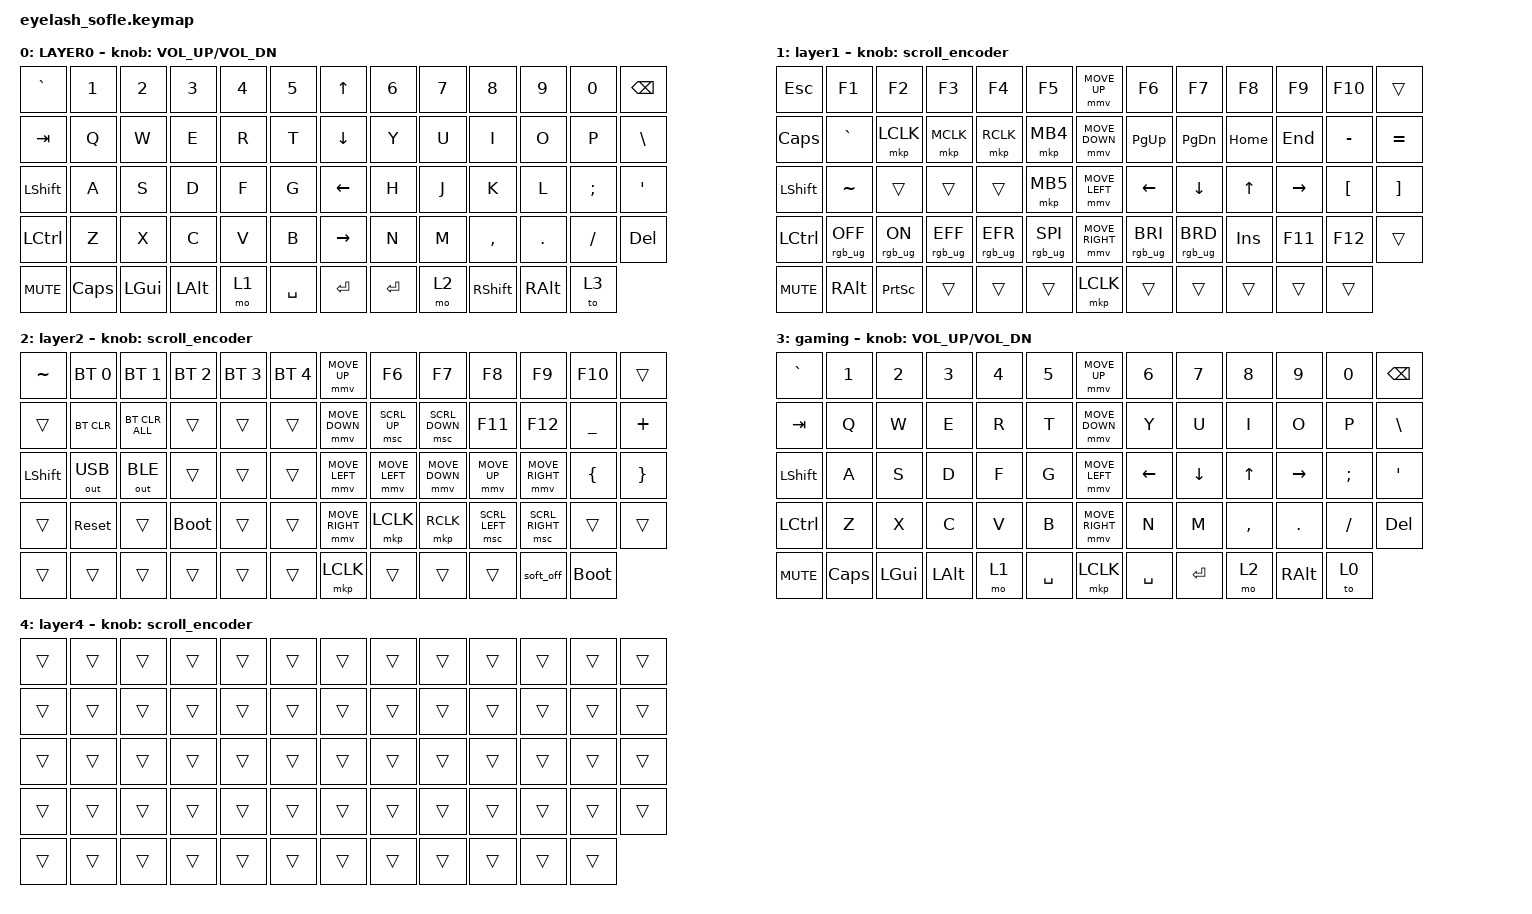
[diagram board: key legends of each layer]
#define ZMK_POINTING_DEFAULT_MOVE_VAL 1200  // 600
#define ZMK_POINTING_DEFAULT_SCRL_VAL 25   // 10

#include <input/processors.dtsi>
#include <zephyr/dt-bindings/input/input-event-codes.h>
#include <behaviors.dtsi>
#include <dt-bindings/zmk/bt.h>
#include <dt-bindings/zmk/keys.h>
#include <dt-bindings/zmk/outputs.h>
#include <dt-bindings/zmk/pointing.h>
#include <dt-bindings/zmk/rgb.h>

&mmv_input_listener { input-processors = <&zip_xy_scaler 2 1>; };

&msc_input_listener { input-processors = <&zip_scroll_scaler 2 1>; };

&msc {
    acceleration-exponent = <1>;      // 0
    time-to-max-speed-ms = <100>;       // 300
    delay-ms = <0>;                   // 0
};

&mmv {
    time-to-max-speed-ms = <500>;
    acceleration-exponent = <1>;
    trigger-period-ms = <16>;
};

&soft_off { hold-time-ms = <2000>; };

/ {
    scroll_encoder: scroll_encoder {
        compatible = "zmk,behavior-sensor-rotate";
        #sensor-binding-cells = <0>;
        bindings = <&msc SCRL_DOWN>, <&msc SCRL_UP>;

        tap-ms = <100>;
    };

    behaviors {
    };

    combos {
        compatible = "zmk,combos";

        softoff {
            bindings = <&soft_off>;
            key-positions = <14 28 40>;
        };

        toggle_capslock {
          bindings = <&kp CAPS>;
          key-positions = <30 34>; // press "f" and "k" together
          timeout-ms = <40>; // needs to be pressed within 40ms
        }; 
    };

    keymap {
        compatible = "zmk,keymap";

        layer0 {
            bindings = <
&kp GRAVE     &kp N1     &kp N2        &kp N3        &kp N4  &kp N5       &kp UP_ARROW     &kp N6     &kp N7     &kp N8     &kp N9           &kp N0      &kp BACKSPACE
&kp TAB     &kp Q      &kp W         &kp E         &kp R   &kp T        &kp DOWN_ARROW   &kp Y      &kp U      &kp I      &kp O            &kp P       &kp BSLH
&kp LSHFT   &kp A      &kp S         &kp D         &kp F   &kp G        &kp LEFT_ARROW   &kp H      &kp J      &kp K      &kp L            &kp SEMI    &kp APOS
&kp LCTRL   &kp Z      &kp X         &kp C         &kp V   &kp B        &kp RIGHT_ARROW  &kp N      &kp M      &kp COMMA  &kp DOT          &kp FSLH    &kp DELETE
&kp C_MUTE  &kp CAPS  &kp LEFT_GUI  &kp LEFT_ALT  &mo 1   &kp SPACE    &kp ENTER         &kp ENTER  &mo 2  &kp RSHFT    &kp RIGHT_ALT  &to 3
            >;

            sensor-bindings = <&inc_dec_kp C_VOLUME_UP C_VOL_DN>;
            display-name = "LAYER0";
        };

        layer_1 {
            bindings = <
&kp ESC   &kp F1           &kp F2          &kp F3           &kp F4           &kp F5             &mmv MOVE_UP     &kp F6           &kp F7           &kp F8      &kp F9     &kp F10           &trans
&kp CAPS      &kp GRAVE        &mkp LCLK       &mkp MCLK        &mkp RCLK        &mkp MB4           &mmv MOVE_DOWN   &kp PG_UP        &kp PG_DN          &kp HOME      &kp END   &kp MINUS         &kp EQUAL
&kp LSHIFT      &kp TILDE        &trans          &trans           &trans           &mkp MB5           &mmv MOVE_LEFT   &kp LEFT        &kp DOWN         &kp UP    &kp RIGHT  &kp LEFT_BRACKET  &kp RIGHT_BRACKET
&kp LCTRL      &rgb_ug RGB_OFF  &rgb_ug RGB_ON  &rgb_ug RGB_EFF  &rgb_ug RGB_EFR  &rgb_ug RGB_SPI    &mmv MOVE_RIGHT  &rgb_ug RGB_BRI  &rgb_ug RGB_BRD  &kp INSERT  &kp F11    &kp F12           &trans
&kp C_MUTE  &kp RIGHT_ALT           &kp PRINTSCREEN          &trans           &trans           &trans             &mkp LCLK        &trans           &trans           &trans      &trans     &trans
            >;

            display-name = "layer1";
            sensor-bindings = <&scroll_encoder>;
        };

        layer_2 {
            bindings = <
&kp TILDE  &bt BT_SEL 0  &bt BT_SEL 1    &bt BT_SEL 2  &bt BT_SEL 3  &bt BT_SEL 4    &mmv MOVE_UP     &kp F6  &kp F7  &kp F8      &kp F9     &kp F10      &trans
&trans     &bt BT_CLR    &bt BT_CLR_ALL  &trans        &trans        &trans          &mmv MOVE_DOWN   &msc SCRL_UP  &msc SCRL_DOWN  &kp F11     &kp F12    &kp UNDER    &kp PLUS
&kp LSHIFT     &out OUT_USB  &out OUT_BLE    &trans        &trans        &trans          &mmv MOVE_LEFT   &mmv MOVE_LEFT  &mmv MOVE_DOWN  &mmv MOVE_UP      &mmv MOVE_RIGHT     &kp LBRC     &kp RBRC
&trans     &sys_reset    &trans          &bootloader   &trans        &trans          &mmv MOVE_RIGHT     &mkp LCLK       &mkp RCLK        &msc SCRL_LEFT    &msc SCRL_RIGHT    &trans       &trans
&trans     &trans        &trans          &trans        &trans        &trans          &mkp LCLK        &trans  &trans  &trans    &soft_off   &bootloader
            >;

            display-name = "layer2";
            sensor-bindings = <&scroll_encoder>;
        };

        layer_3 {
            bindings = <
&kp GRAVE     &kp N1     &kp N2        &kp N3        &kp N4  &kp N5       &mmv MOVE_UP     &kp N6     &kp N7     &kp N8     &kp N9           &kp N0      &kp BACKSPACE
&kp TAB     &kp Q      &kp W         &kp E         &kp R   &kp T        &mmv MOVE_DOWN   &kp Y      &kp U      &kp I      &kp O            &kp P       &kp BSLH
&kp LSHFT   &kp A      &kp S         &kp D         &kp F   &kp G        &mmv MOVE_LEFT   &kp LEFT_ARROW      &kp DOWN_ARROW      &kp UP_ARROW      &kp RIGHT_ARROW            &kp SEMI    &kp APOS
&kp LCTRL   &kp Z      &kp X         &kp C         &kp V   &kp B        &mmv MOVE_RIGHT  &kp N      &kp M      &kp COMMA  &kp DOT          &kp FSLH    &kp DELETE
&kp C_MUTE  &kp CAPS  &kp LEFT_GUI  &kp LEFT_ALT  &mo 1   &kp SPACE    &mkp LCLK        &kp SPACE  &kp ENTER  &mo 2      &kp RIGHT_ALT  &to 0
            >;

            sensor-bindings = <&inc_dec_kp C_VOLUME_UP C_VOL_DN>;
            display-name = "gaming";

        };

        layer_4 {
            bindings = <
&trans  &trans  &trans  &trans  &trans  &trans    &trans  &trans  &trans  &trans  &trans  &trans  &trans
&trans  &trans  &trans  &trans  &trans  &trans    &trans  &trans  &trans  &trans  &trans  &trans  &trans
&trans  &trans  &trans  &trans  &trans  &trans    &trans  &trans  &trans  &trans  &trans  &trans  &trans
&trans  &trans  &trans  &trans  &trans  &trans    &trans  &trans  &trans  &trans  &trans  &trans  &trans
&trans  &trans  &trans  &trans  &trans  &trans    &trans  &trans  &trans  &trans  &trans  &trans
            >;
         display-name = "layer4";
            sensor-bindings = <&scroll_encoder>;
        };
    };
};
